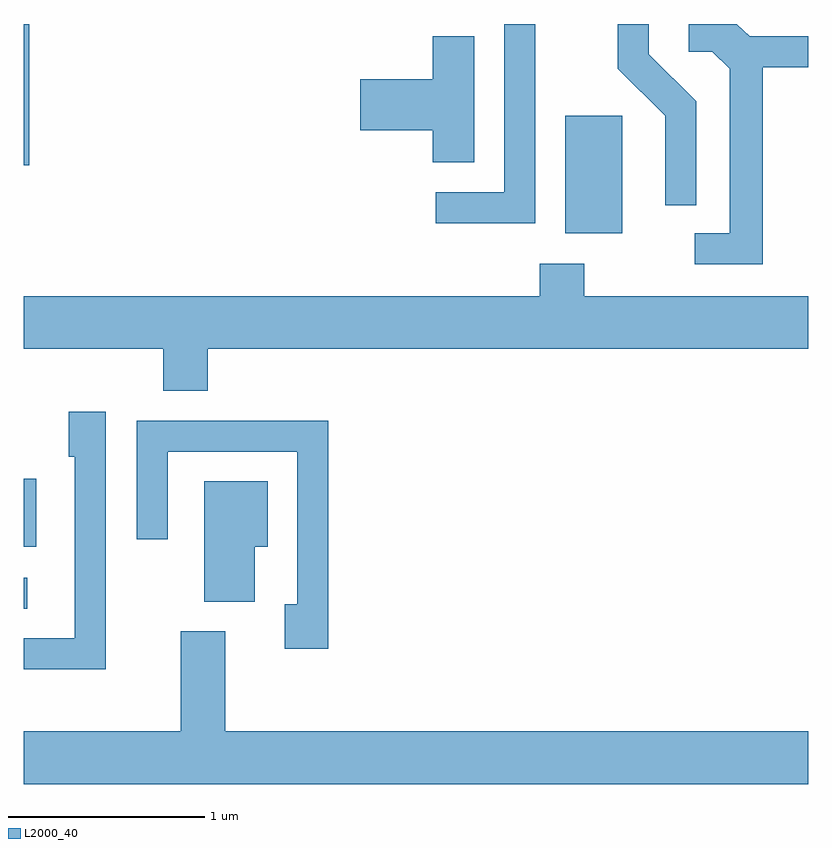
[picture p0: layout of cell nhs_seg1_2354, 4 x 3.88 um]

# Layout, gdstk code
import gdstk
lib = gdstk.Library(unit=1e-6, precision=1e-09)
def R(c, l, rs):  # rectangles x0, y0, x1, y1
    for r in rs: c.add(gdstk.rectangle(r[:2], r[2:], *l))
def P(c, l, *ps):  # polygons
    for p in ps: c.add(gdstk.Polygon(p, *l))
L2000_40 = (2000, 40)

nhs_seg1_2354 = lib.new_cell('nhs_seg1_2354')
R(nhs_seg1_2354, L2000_40, [(257.611,862.731,257.628,862.889), (257.611,863.046,257.674,863.394), (260.371,864.646,260.664,865.244), (257.611,864.991,257.639,865.712)])
P(nhs_seg1_2354, L2000_40, [(260.219,865.712),(260.061,865.712),(260.061,864.854),(259.712,864.854),(259.712,864.696),(260.219,864.696)],
  [(261.039,865.317),(260.799,865.557),(260.799,865.712),(260.641,865.712),(260.641,865.484),(260.881,865.244),(260.881,864.788),(261.039,864.788)],
  [(261.379,865.491),(261.611,865.491),(261.611,865.649),(261.312,865.649),(261.248,865.712),(261.003,865.712),(261.003,865.571),(261.123,865.571),(261.211,865.484),(261.211,864.644),(261.033,864.644),(261.033,864.486),(261.379,864.486)],
  [(259.909,865.649),(259.696,865.649),(259.696,865.429),(259.326,865.429),(259.326,865.171),(259.696,865.171),(259.696,865.006),(259.909,865.006)],
  [(258.549,864.056),(261.611,864.056),(261.611,864.324),(260.469,864.324),(260.469,864.489),(260.241,864.489),(260.241,864.324),(257.611,864.324),(257.611,864.056),(258.321,864.056),(258.321,863.841),(258.549,863.841)],
  [(258.029,863.734),(257.841,863.734),(257.841,863.506),(257.871,863.506),(257.871,862.579),(257.611,862.579),(257.611,862.421),(258.029,862.421)],
  [(259.164,863.689),(258.186,863.689),(258.186,863.083),(258.344,863.083),(258.344,863.531),(259.006,863.531),(259.006,862.754),(258.941,862.754),(258.941,862.526),(259.164,862.526)],
  [(258.789,863.046),(258.854,863.046),(258.854,863.379),(258.531,863.379),(258.531,862.766),(258.789,862.766)],
  [(261.611,862.104),(258.639,862.104),(258.639,862.614),(258.411,862.614),(258.411,862.104),(257.611,862.104),(257.611,861.836),(261.611,861.836)])

lib.write_gds('nhs_seg1_2354.gds')
